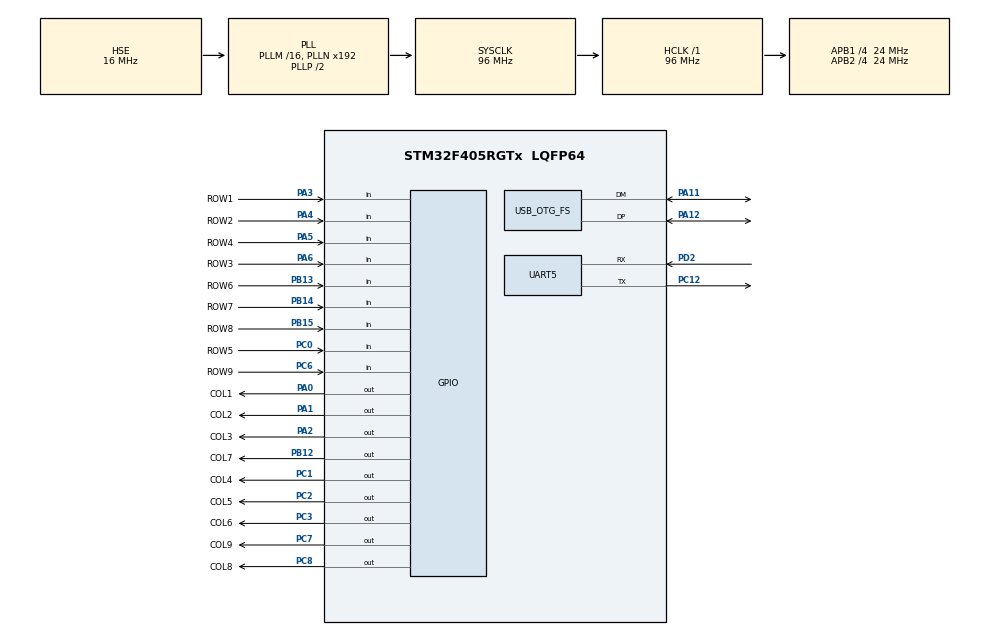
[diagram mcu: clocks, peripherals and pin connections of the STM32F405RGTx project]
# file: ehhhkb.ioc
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Mcu.Family=STM32F4
Mcu.Name=STM32F405RGTx
Mcu.Package=LQFP64
NVIC.OTG_FS_IRQn=true\:0\:0\:false\:false\:true\:false\:true
NVIC.PriorityGroup=NVIC_PRIORITYGROUP_4
NVIC.TIM8_TRG_COM_TIM14_IRQn=true\:0\:0\:false\:false\:true\:true\:true
NVIC.TIM8_UP_TIM13_IRQn=true\:0\:0\:false\:false\:true\:true\:true
PA0-WKUP.GPIO_Label=COL1
PA0-WKUP.GPIO_Speed=GPIO_SPEED_FREQ_HIGH
PA0-WKUP.Signal=GPIO_Output
PA1.GPIO_Label=COL2
PA1.GPIO_Speed=GPIO_SPEED_FREQ_HIGH
PA1.Signal=GPIO_Output
PA11.Mode=Device_Only
PA11.Signal=USB_OTG_FS_DM
PA12.Mode=Device_Only
PA12.Signal=USB_OTG_FS_DP
PA13.Mode=Trace_Asynchronous_SW
PA13.Signal=SYS_JTMS-SWDIO
PA14.Mode=Trace_Asynchronous_SW
PA14.Signal=SYS_JTCK-SWCLK
PA2.GPIO_Label=COL3
PA2.GPIO_Speed=GPIO_SPEED_FREQ_HIGH
PA2.Signal=GPIO_Output
PA3.GPIO_Label=ROW1
PA3.GPIO_PuPd=GPIO_PULLDOWN
PA3.Signal=GPIO_Input
PA4.GPIO_Label=ROW2
PA4.GPIO_PuPd=GPIO_PULLDOWN
PA4.Signal=GPIO_Input
PA5.GPIO_Label=ROW4
PA5.GPIO_PuPd=GPIO_PULLDOWN
PA5.Signal=GPIO_Input
PA6.GPIO_Label=ROW3
PA6.GPIO_PuPd=GPIO_PULLDOWN
PA6.Signal=GPIO_Input
PB12.GPIO_Label=COL7
PB12.GPIO_Speed=GPIO_SPEED_FREQ_HIGH
PB12.Signal=GPIO_Output
PB13.GPIO_Label=ROW6
PB13.GPIO_PuPd=GPIO_PULLDOWN
PB13.Signal=GPIO_Input
PB14.GPIO_Label=ROW7
PB14.GPIO_PuPd=GPIO_PULLDOWN
PB14.Signal=GPIO_Input
PB15.GPIO_Label=ROW8
PB15.GPIO_PuPd=GPIO_PULLDOWN
PB15.Signal=GPIO_Input
PB3.Mode=Trace_Asynchronous_SW
PB3.Signal=SYS_JTDO-SWO
PC0.GPIO_Label=ROW5
PC0.GPIO_PuPd=GPIO_PULLDOWN
PC0.Signal=GPIO_Input
PC1.GPIO_Label=COL4
PC1.GPIO_Speed=GPIO_SPEED_FREQ_HIGH
PC1.Signal=GPIO_Output
PC12.Mode=Asynchronous
PC12.Signal=UART5_TX
PC2.GPIO_Label=COL5
PC2.GPIO_Speed=GPIO_SPEED_FREQ_HIGH
PC2.Signal=GPIO_Output
PC3.GPIO_Label=COL6
PC3.GPIO_Speed=GPIO_SPEED_FREQ_HIGH
PC3.Signal=GPIO_Output
PC6.GPIO_Label=ROW9
PC6.Signal=GPIO_Input
PC7.GPIO_Label=COL9
PC7.GPIO_PuPd=GPIO_NOPULL
PC7.GPIO_Speed=GPIO_SPEED_FREQ_HIGH
PC7.Signal=GPIO_Output
PC8.GPIO_Label=COL8
PC8.GPIO_PuPd=GPIO_NOPULL
PC8.GPIO_Speed=GPIO_SPEED_FREQ_HIGH
PC8.Signal=GPIO_Output
PD2.Mode=Asynchronous
PD2.Signal=UART5_RX
PH0-OSC_IN.Mode=HSE-External-Oscillator
PH0-OSC_IN.Signal=RCC_OSC_IN
PH1-OSC_OUT.Mode=HSE-External-Oscillator
PH1-OSC_OUT.Signal=RCC_OSC_OUT
ProjectManager.HeapSize=0x200
ProjectManager.StackSize=0x400
ProjectManager.TargetToolchain=STM32CubeIDE
RCC.AHBFreq_Value=96000000
RCC.APB1CLKDivider=RCC_HCLK_DIV4
RCC.APB1Freq_Value=24000000
RCC.APB1TimFreq_Value=48000000
RCC.APB2CLKDivider=RCC_HCLK_DIV4
RCC.APB2Freq_Value=24000000
RCC.APB2TimFreq_Value=48000000
RCC.CortexFreq_Value=96000000
RCC.HCLKFreq_Value=96000000
RCC.HSE_VALUE=16000000
RCC.HSI_VALUE=16000000
RCC.LSE_VALUE=32768
RCC.SYSCLKFreq_VALUE=96000000
RCC.SYSCLKSource=RCC_SYSCLKSOURCE_PLLCLK
RCC.VCOOutputFreq_Value=192000000
TIM13.Period=49
TIM13.Prescaler=47
TIM14.Period=999
TIM14.Prescaler=47
UART5.VirtualMode=Asynchronous
USB_DEVICE.CLASS_NAME_FS=CUSTOM_HID
USB_DEVICE.CUSTOM_HID_FS_BINTERVAL=0x1
USB_DEVICE.MANUFACTURER_STRING-CUSTOM_HID_FS=NonSense
USB_DEVICE.PID_CUSTOMHID_FS=22353
USB_DEVICE.PRODUCT_STRING_CUSTOMHID_FS=EhHHKB
USB_DEVICE.USBD_CUSTOM_HID_REPORT_DESC_SIZE-CUSTOM_HID_FS=126
USB_DEVICE.USBD_SELF_POWERED-CUSTOM_HID_FS=0
USB_DEVICE.VirtualMode-CUSTOM_HID_FS=CustomHid
USB_DEVICE.VirtualModeFS=Custom_Hid_FS
USB_OTG_FS.VirtualMode=Device_Only
VP_TIM13_VS_ClockSourceINT.Mode=Enable_Timer
VP_TIM14_VS_ClockSourceINT.Mode=Enable_Timer
VP_USB_DEVICE_VS_USB_DEVICE_CUSTOM_HID_FS.Mode=CUSTOM_HID_FS
board=custom

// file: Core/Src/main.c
/* USER CODE BEGIN Header */
/**
  ******************************************************************************
  * @file           : main.c
  * @brief          : Main program body
  ******************************************************************************
  * @attention
  *
  * <h2><center>&copy; Copyright (c) 2021 STMicroelectronics.
  * All rights reserved.</center></h2>
  *
  * This software component is licensed by ST under BSD 3-Clause license,
  * the "License"; You may not use this file except in compliance with the
  * License. You may obtain a copy of the License at:
  *                        opensource.org/licenses/BSD-3-Clause
  *
  ******************************************************************************
  */
/* USER CODE END Header */
#include "main.h"
#include "usb_device.h"

/* USER CODE BEGIN Includes */
#include "usbd_custom_hid_if.h"
#include "keycode.h"
#include "keymap.h"
/* USER CODE END Includes */

/* USER CODE BEGIN PTD */
struct keyboardHIDBitmap_t {
    uint8_t report_id;
    uint8_t modifiers;
    uint8_t key_bit[REPORT_KEYBIT_BYTES];
};
struct keyboardHID_t {
  uint8_t report_id;
  uint8_t modifiers;
  uint8_t reserved;
  uint8_t key[6];
};
/* USER CODE END PTD */

TIM_HandleTypeDef htim13;
TIM_HandleTypeDef htim14;

UART_HandleTypeDef huart5;

/* USER CODE BEGIN PV */
extern USBD_HandleTypeDef hUsbDeviceFS;
struct keyboardHIDBitmap_t keyboardHID;
uint8_t currentLayer = 0;
uint8_t bufferIndex = 0;
struct keyboardHIDBitmap_t keyboardHidBuffer[DEBOUNCE];
uint8_t keyPush[ROW_NUM][COL_NUM];
/* USER CODE END PV */

void SystemClock_Config(void);
static void MX_GPIO_Init(void);
static void MX_UART5_Init(void);
static void MX_TIM14_Init(void);
static void MX_TIM13_Init(void);
/* USER CODE BEGIN PFP */
static void KeyPressingRaw(uint8_t col, uint8_t row);
static void KeyReleasingRaw(uint8_t col, uint8_t row);
static void KeyPressing(uint8_t code);
static void KeyReleasing(uint8_t code);
static inline void FnProc();
/* USER CODE END PFP */

/* USER CODE BEGIN 0 */
static volatile uint8_t timer_intr = 0;
static volatile uint8_t scan_intr = 0;
static volatile uint8_t fnKey = 0;
void HAL_TIM_PeriodElapsedCallback( TIM_HandleTypeDef* htim )
{
  // 50us interval
  if (htim->Instance == TIM13) {
    scan_intr = 1;
  }
  // 1ms interval
  if (htim->Instance == TIM14) {
    timer_intr = 1;
  }
}
static void ResetBitmapReport(struct keyboardHIDBitmap_t* report){
  report->modifiers = 0;
  for (int8_t i = 0; i < REPORT_KEYBIT_BYTES; i++) {
    report->key_bit[i] = 0;
  }
}
static void AddKeyBitmap(struct keyboardHIDBitmap_t* report, uint8_t code){
  if((code>>3)<REPORT_KEYBIT_BYTES)
    report->key_bit[code>>3] |= (1<<(code&0x07));
}
static void RemoveKeyBitmap(struct keyboardHIDBitmap_t* report, uint8_t code){
  if((code>>3)<REPORT_KEYBIT_BYTES)
    report->key_bit[code>>3] &= ~(1<<(code&0x07));
}
static void MatrixScan(){
  fnKey = 0;
  ResetBitmapReport(&keyboardHID);
//  while(scan_intr==0);
//  scan_intr=0;
  for(uint8_t col=0; col<COL_NUM; col++){
    while(scan_intr==0);
    scan_intr=0;
    for(uint8_t t=0; t<COL_NUM; t++){
      if(t==col){
        HAL_GPIO_WritePin(matrixColPort[t], matrixColPin[t], GPIO_PIN_SET);
      } else {
        HAL_GPIO_WritePin(matrixColPort[t], matrixColPin[t], GPIO_PIN_RESET);
      }
    }
    while(scan_intr==0);
    scan_intr=0;
    for(uint8_t row=0; row<ROW_NUM; row++){
      if(HAL_GPIO_ReadPin(matrixRowPort[row], matrixRowPin[row]) == GPIO_PIN_SET){
        KeyPressingRaw(col,row);
      } else {
        keyPush[row][col]=0;
      }
    }
  }
  FnProc();
}
static inline void KeyPressingRaw(uint8_t col, uint8_t row){
  if(keyPush[row][col]==0){
    keyPush[row][col]=currentLayer+1;
  }
  uint8_t code = keymap[keyPush[row][col]-1][row][col];
  if(code == KC_TRNS)
    code = keymap[keyPush[row][col]-2][row][col];
  KeyPressing(code);
}
static inline void KeyPressing(uint8_t code){
  switch (code) {
    case KC_LCTRL:
    case KC_LSHIFT:
    case KC_LALT:
    case KC_LGUI:
    case KC_RCTRL:
    case KC_RSHIFT:
    case KC_RALT:
    case KC_RGUI:
      keyboardHID.modifiers |= (1<<(code&0x07));
      break;
    case KC_FN1:
      fnKey = 1;
      break;
    default:
      AddKeyBitmap(&keyboardHID,code);
  }
}
static inline void FnProc(){
  if(fnKey){
    currentLayer = 1;
  } else {
    currentLayer = 0;
  }
}

static inline void AddBuffer(struct keyboardHIDBitmap_t bitmap){
  bufferIndex++;
  bufferIndex%=DEBOUNCE;
  keyboardHidBuffer[bufferIndex] = bitmap;
}

static inline struct keyboardHIDBitmap_t SumBuffer(){
  struct keyboardHIDBitmap_t t;
  ResetBitmapReport(&t);
  for(uint8_t i=0; i<DEBOUNCE; i++){
    t.modifiers |= keyboardHidBuffer[i].modifiers;
    for(uint8_t k=0; k<REPORT_KEYBIT_BYTES; k++){
      t.key_bit[k] |= keyboardHidBuffer[i].key_bit[k];
    }
  }
  return t;
}

/* USER CODE END 0 */

int main(void)
{

  /* MCU Configuration--------------------------------------------------------*/

  /* Reset of all peripherals, Initializes the Flash interface and the Systick. */
  HAL_Init();

  /* USER CODE BEGIN Init */
  struct keyboardHID_t keyboardHIDNormal;
  keyboardHID.report_id = 2;
  ResetBitmapReport(&keyboardHID);

  for (int8_t i = 0; i < 6; ++i) {
    keyboardHIDNormal.key[i] = 0;
  }
  keyboardHIDNormal.report_id = 1;
  keyboardHIDNormal.modifiers =0 ;
  keyboardHIDNormal.reserved = 0;

  for(uint8_t i=0; i<ROW_NUM; i++){
    for(uint8_t j=0; j<COL_NUM; j++){
      keyPush[i][j]=0;
    }
  }

  /* USER CODE END Init */

  /* Configure the system clock */
  SystemClock_Config();

  /* Initialize all configured peripherals */
  MX_GPIO_Init();
  MX_UART5_Init();
  MX_USB_DEVICE_Init();
  MX_TIM14_Init();
  MX_TIM13_Init();
  /* USER CODE BEGIN 2 */

  HAL_TIM_Base_Start_IT( &htim13 );
  HAL_TIM_Base_Start_IT( &htim14 );
  /* USER CODE END 2 */

  /* Infinite loop */
  /* USER CODE BEGIN WHILE */
  #pragma clang diagnostic push
  #pragma ide diagnostic ignored "EndlessLoop"
  //USBD_CUSTOM_HID_SendReport( &hUsbDeviceFS, (uint8_t*) &keyboardHID, sizeof( struct keyboardHIDBitmap_t ) );
  int cnt = 0;
  while (1)
  {
    /* USER CODE END WHILE */

    /* USER CODE BEGIN 3 */
    while (timer_intr == 0);
    timer_intr = 0;
    MatrixScan();
    AddBuffer(keyboardHID);
    struct keyboardHIDBitmap_t sendReport = SumBuffer();
    USBD_CUSTOM_HID_SendReport(&hUsbDeviceFS, (uint8_t *) &sendReport, sizeof(struct keyboardHIDBitmap_t));
//    cnt++;
//    if(cnt==1000) {
//      USBD_CUSTOM_HID_SendReport(&hUsbDeviceFS, (uint8_t *) &keyboardHID, sizeof(struct keyboardHIDBitmap_t));
//      //USBD_CUSTOM_HID_SendReport(&hUsbDeviceFS, (uint8_t *) &keyboardHIDNormal, sizeof(struct keyboardHID_t));
//    }
//    if(cnt==2000){
//      for (int8_t i = 0; i < REPORT_KEYBIT_BYTES; ++i) {
//        keyboardHID.key_bit[i] = 0;
//      }
//
//      for (int8_t i = 0; i < 6; ++i) {
//        keyboardHIDNormal.key[i] = 0;
//      }
//      USBD_CUSTOM_HID_SendReport(&hUsbDeviceFS, (uint8_t *) &keyboardHID, sizeof(struct keyboardHIDBitmap_t));
//      //USBD_CUSTOM_HID_SendReport(&hUsbDeviceFS, (uint8_t *) &keyboardHIDNormal, sizeof(struct keyboardHID_t));
//      keyboardHIDNormal.key[0] = 0x04;
//      keyboardHID.key[0]  = 0xf0;
//      keyboardHID.key[1]  = 0xff;
//      keyboardHID.key[2]  = 0xff;
//      keyboardHID.key[3]  = 0xff;
//      keyboardHID.key[4]  = 0xff;        //   -27
//      keyboardHID.key[5]  = 0b11100001;  // 28-2F
//      keyboardHID.key[6]  = 0xff;        // 30-37
//      keyboardHID.key[7]  = 0b00000001;  // 38-3F
//      keyboardHID.key[8]  = 0b00000000;  // 40-47
//      keyboardHID.key[9]  = 0b10000000;  // 48-4F
//      keyboardHID.key[10] = 0b11110111;  // 50-57
//      keyboardHID.key[11] = 0b11111111;  // 58-5F
//      keyboardHID.key[12] = 0b11111111;  // 60-67
//      cnt=0;
//    }
  }
  /* USER CODE END 3 */
}

void SystemClock_Config(void)
{
  RCC_OscInitTypeDef RCC_OscInitStruct = {0};
  RCC_ClkInitTypeDef RCC_ClkInitStruct = {0};

  /** Configure the main internal regulator output voltage
  */
  __HAL_RCC_PWR_CLK_ENABLE();
  __HAL_PWR_VOLTAGESCALING_CONFIG(PWR_REGULATOR_VOLTAGE_SCALE1);
  /** Initializes the RCC Oscillators according to the specified parameters
  * in the RCC_OscInitTypeDef structure.
  */
  RCC_OscInitStruct.OscillatorType = RCC_OSCILLATORTYPE_HSE;
  RCC_OscInitStruct.HSEState = RCC_HSE_ON;
  RCC_OscInitStruct.PLL.PLLState = RCC_PLL_ON;
  RCC_OscInitStruct.PLL.PLLSource = RCC_PLLSOURCE_HSE;
  RCC_OscInitStruct.PLL.PLLM = 16;
  RCC_OscInitStruct.PLL.PLLN = 192;
  RCC_OscInitStruct.PLL.PLLP = RCC_PLLP_DIV2;
  RCC_OscInitStruct.PLL.PLLQ = 4;
  if (HAL_RCC_OscConfig(&RCC_OscInitStruct) != HAL_OK)
  {
    Error_Handler();
  }
  /** Initializes the CPU, AHB and APB buses clocks
  */
  RCC_ClkInitStruct.ClockType = RCC_CLOCKTYPE_HCLK|RCC_CLOCKTYPE_SYSCLK
                              |RCC_CLOCKTYPE_PCLK1|RCC_CLOCKTYPE_PCLK2;
  RCC_ClkInitStruct.SYSCLKSource = RCC_SYSCLKSOURCE_PLLCLK;
  RCC_ClkInitStruct.AHBCLKDivider = RCC_SYSCLK_DIV1;
  RCC_ClkInitStruct.APB1CLKDivider = RCC_HCLK_DIV4;
  RCC_ClkInitStruct.APB2CLKDivider = RCC_HCLK_DIV4;

  if (HAL_RCC_ClockConfig(&RCC_ClkInitStruct, FLASH_LATENCY_3) != HAL_OK)
  {
    Error_Handler();
  }
}

static void MX_TIM13_Init(void)
{

  htim13.Instance = TIM13;
  htim13.Init.Prescaler = 47;
  htim13.Init.CounterMode = TIM_COUNTERMODE_UP;
  htim13.Init.Period = 49;
  htim13.Init.ClockDivision = TIM_CLOCKDIVISION_DIV1;
  htim13.Init.AutoReloadPreload = TIM_AUTORELOAD_PRELOAD_DISABLE;
  if (HAL_TIM_Base_Init(&htim13) != HAL_OK)
  {
    Error_Handler();
  }

}

static void MX_TIM14_Init(void)
{

  htim14.Instance = TIM14;
  htim14.Init.Prescaler = 47;
  htim14.Init.CounterMode = TIM_COUNTERMODE_UP;
  htim14.Init.Period = 999;
  htim14.Init.ClockDivision = TIM_CLOCKDIVISION_DIV1;
  htim14.Init.AutoReloadPreload = TIM_AUTORELOAD_PRELOAD_DISABLE;
  if (HAL_TIM_Base_Init(&htim14) != HAL_OK)
  {
    Error_Handler();
  }

}

static void MX_UART5_Init(void)
{

  huart5.Instance = UART5;
  huart5.Init.BaudRate = 115200;
  huart5.Init.WordLength = UART_WORDLENGTH_8B;
  huart5.Init.StopBits = UART_STOPBITS_1;
  huart5.Init.Parity = UART_PARITY_NONE;
  huart5.Init.Mode = UART_MODE_TX_RX;
  huart5.Init.HwFlowCtl = UART_HWCONTROL_NONE;
  huart5.Init.OverSampling = UART_OVERSAMPLING_16;
  if (HAL_UART_Init(&huart5) != HAL_OK)
  {
    Error_Handler();
  }

}

static void MX_GPIO_Init(void)
{
  GPIO_InitTypeDef GPIO_InitStruct = {0};

  /* GPIO Ports Clock Enable */
  __HAL_RCC_GPIOH_CLK_ENABLE();
  __HAL_RCC_GPIOC_CLK_ENABLE();
  __HAL_RCC_GPIOA_CLK_ENABLE();
  __HAL_RCC_GPIOB_CLK_ENABLE();
  __HAL_RCC_GPIOD_CLK_ENABLE();

  /*Configure GPIO pin Output Level */
  HAL_GPIO_WritePin(GPIOC, COL4_Pin|COL5_Pin|COL6_Pin|COL9_Pin
                          |COL8_Pin, GPIO_PIN_RESET);

  /*Configure GPIO pin Output Level */
  HAL_GPIO_WritePin(GPIOA, COL1_Pin|COL2_Pin|COL3_Pin, GPIO_PIN_RESET);

  /*Configure GPIO pin Output Level */
  HAL_GPIO_WritePin(COL7_GPIO_Port, COL7_Pin, GPIO_PIN_RESET);

  /*Configure GPIO pin : ROW5_Pin */
  GPIO_InitStruct.Pin = ROW5_Pin;
  GPIO_InitStruct.Mode = GPIO_MODE_INPUT;
  GPIO_InitStruct.Pull = GPIO_PULLDOWN;
  HAL_GPIO_Init(ROW5_GPIO_Port, &GPIO_InitStruct);

  /*Configure GPIO pins : COL4_Pin COL5_Pin COL6_Pin COL9_Pin
                           COL8_Pin */
  GPIO_InitStruct.Pin = COL4_Pin|COL5_Pin|COL6_Pin|COL9_Pin
                          |COL8_Pin;
  GPIO_InitStruct.Mode = GPIO_MODE_OUTPUT_PP;
  GPIO_InitStruct.Pull = GPIO_NOPULL;
  GPIO_InitStruct.Speed = GPIO_SPEED_FREQ_HIGH;
  HAL_GPIO_Init(GPIOC, &GPIO_InitStruct);

  /*Configure GPIO pins : COL1_Pin COL2_Pin COL3_Pin */
  GPIO_InitStruct.Pin = COL1_Pin|COL2_Pin|COL3_Pin;
  GPIO_InitStruct.Mode = GPIO_MODE_OUTPUT_PP;
  GPIO_InitStruct.Pull = GPIO_NOPULL;
  GPIO_InitStruct.Speed = GPIO_SPEED_FREQ_HIGH;
  HAL_GPIO_Init(GPIOA, &GPIO_InitStruct);

  /*Configure GPIO pins : ROW1_Pin ROW2_Pin ROW4_Pin ROW3_Pin */
  GPIO_InitStruct.Pin = ROW1_Pin|ROW2_Pin|ROW4_Pin|ROW3_Pin;
  GPIO_InitStruct.Mode = GPIO_MODE_INPUT;
  GPIO_InitStruct.Pull = GPIO_PULLDOWN;
  HAL_GPIO_Init(GPIOA, &GPIO_InitStruct);

  /*Configure GPIO pin : COL7_Pin */
  GPIO_InitStruct.Pin = COL7_Pin;
  GPIO_InitStruct.Mode = GPIO_MODE_OUTPUT_PP;
  GPIO_InitStruct.Pull = GPIO_NOPULL;
  GPIO_InitStruct.Speed = GPIO_SPEED_FREQ_HIGH;
  HAL_GPIO_Init(COL7_GPIO_Port, &GPIO_InitStruct);

  /*Configure GPIO pins : ROW6_Pin ROW7_Pin ROW8_Pin */
  GPIO_InitStruct.Pin = ROW6_Pin|ROW7_Pin|ROW8_Pin;
  GPIO_InitStruct.Mode = GPIO_MODE_INPUT;
  GPIO_InitStruct.Pull = GPIO_PULLDOWN;
  HAL_GPIO_Init(GPIOB, &GPIO_InitStruct);

  /*Configure GPIO pin : ROW9_Pin */
  GPIO_InitStruct.Pin = ROW9_Pin;
  GPIO_InitStruct.Mode = GPIO_MODE_INPUT;
  GPIO_InitStruct.Pull = GPIO_NOPULL;
  HAL_GPIO_Init(ROW9_GPIO_Port, &GPIO_InitStruct);

}

void Error_Handler(void)
{
  __disable_irq();
  while (1)
  {
  }
}

/************************ (C) COPYRIGHT STMicroelectronics *****END OF FILE****/
